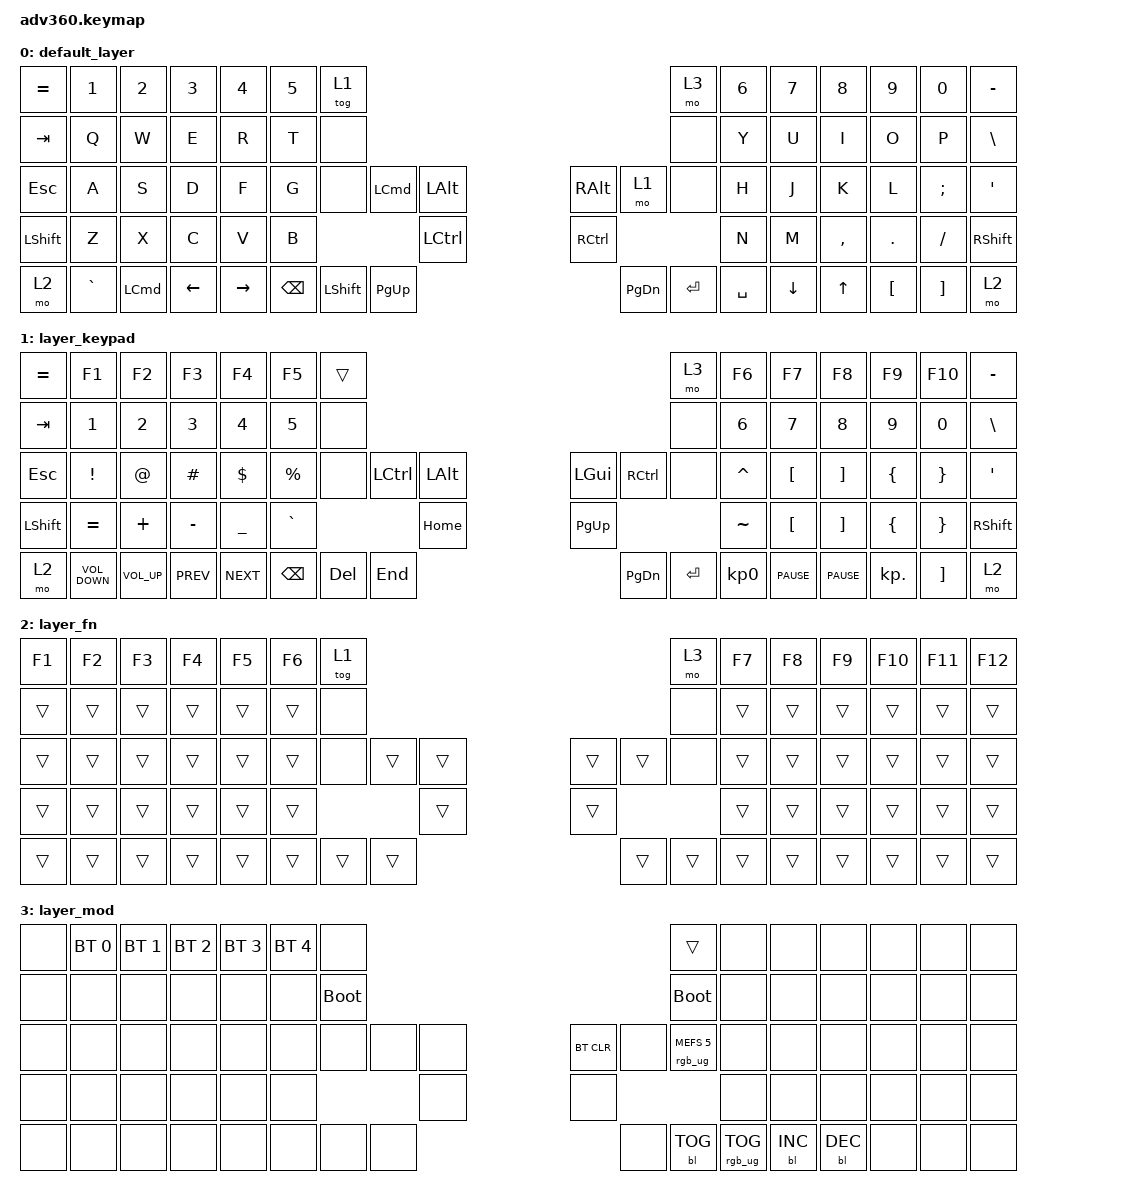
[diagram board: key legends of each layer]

/*
 * Copyright (c) 2020 The ZMK Contributors
 *
 * SPDX-License-Identifier: MIT
 */


/* THIS FILE WAS GENERATED!
 *
 * This file was generated automatically. You may or may not want to
 * edit it directly.
 */

#include <behaviors.dtsi>
#include <dt-bindings/zmk/keys.h>
#include <dt-bindings/zmk/bt.h>
#include <dt-bindings/zmk/rgb.h>
#include <dt-bindings/zmk/backlight.h>

/ {
  behaviors {
    #include "macros.dtsi"
    #include "version.dtsi"

    hm: homerow_mods {
        compatible = "zmk,behavior-hold-tap";
        label = "HOMEROW_MODS";
        #binding-cells = <2>;
        tapping-term-ms = <200>;
        quick_tap_ms = <175>;
        flavor = "tap-preferred";
        bindings = <&kp>, <&kp>;
    };
  };

    keymap {
        compatible = "zmk,keymap";


        default_layer {
            bindings = <
 &kp EQUAL     &kp N1            &kp N2    &kp N3     &kp N4  &kp N5              &tog 1                                                                                &mo 3  &kp N6          &kp N7        &kp N8    &kp N9    &kp N0  &kp MINUS
   &kp TAB      &kp Q             &kp W     &kp E      &kp R   &kp T               &none                                                                                &none   &kp Y           &kp U         &kp I     &kp O     &kp P   &kp BSLH
   &kp ESC      &kp A             &kp S     &kp D      &kp F   &kp G               &none  &kp LEFT_COMMAND  &kp LEFT_ALT                  &kp RIGHT_ALT      &mo 1      &none   &kp H           &kp J         &kp K     &kp L  &kp SEMI    &kp SQT
 &kp LSHFT      &kp Z             &kp X     &kp C      &kp V   &kp B                                           &kp LCTRL                      &kp RCTRL                         &kp N           &kp M     &kp COMMA   &kp DOT  &kp FSLH  &kp RSHFT
     &mo 2  &kp GRAVE  &kp LEFT_COMMAND  &kp LEFT  &kp RIGHT                    &kp BSPC    &kp LEFT_SHIFT   &kp PAGE_UP                      &kp PG_DN  &kp ENTER  &kp SPACE          &kp DOWN_ARROW  &kp UP_ARROW  &kp LBKT  &kp RBKT      &mo 2
            >;
        };

        layer_keypad {
            bindings = <
      &kp EQUAL             &kp F1           &kp F2        &kp F3          &kp F4        &kp F5              &trans                                                                 &mo 3        &kp F6            &kp F7             &kp F8          &kp F9          &kp F10  &kp MINUS
        &kp TAB       &kp NUMBER_1     &kp NUMBER_2  &kp NUMBER_3    &kp NUMBER_4  &kp NUMBER_5               &none                                                                 &none  &kp NUMBER_6      &kp NUMBER_7       &kp NUMBER_8    &kp NUMBER_9     &kp NUMBER_0   &kp BSLH
        &kp ESC    &kp EXCLAMATION           &kp AT      &kp HASH        &kp DLLR     &kp PRCNT               &none  &kp LCTRL  &kp LALT                   &kp LGUI  &kp RCTRL      &none     &kp CARET  &kp LEFT_BRACKET  &kp RIGHT_BRACKET  &kp LEFT_BRACE  &kp RIGHT_BRACE    &kp SQT
 &kp LEFT_SHIFT          &kp EQUAL         &kp PLUS     &kp MINUS  &kp UNDERSCORE     &kp GRAVE                                 &kp HOME                  &kp PG_UP                           &kp TILDE  &kp LEFT_BRACKET  &kp RIGHT_BRACKET  &kp LEFT_BRACE  &kp RIGHT_BRACE  &kp RSHFT
          &mo 2  &kp C_VOLUME_DOWN  &kp C_VOLUME_UP    &kp C_PREV      &kp C_NEXT                          &kp BSPC    &kp DEL   &kp END                  &kp PG_DN  &kp ENTER  &kp KP_N0                     &kp C_PAUSE        &kp C_PAUSE      &kp KP_DOT         &kp RBKT      &mo 2
            >;
        };

        layer_fn {
            bindings = <
 &kp F1  &kp F2  &kp F3  &kp F4  &kp F5  &kp F6            &tog 1                                                   &mo 3  &kp F7  &kp F8  &kp F9  &kp F10  &kp F11  &kp F12
 &trans  &trans  &trans  &trans  &trans  &trans             &none                                                   &none  &trans  &trans  &trans   &trans   &trans   &trans
 &trans  &trans  &trans  &trans  &trans  &trans             &none  &trans  &trans                  &trans  &trans   &none  &trans  &trans  &trans   &trans   &trans   &trans
 &trans  &trans  &trans  &trans  &trans  &trans                            &trans                  &trans                  &trans  &trans  &trans   &trans   &trans   &trans
 &trans  &trans  &trans  &trans  &trans                    &trans  &trans  &trans                  &trans  &trans  &trans          &trans  &trans   &trans   &trans   &trans
            >;
        };

        layer_mod {
            bindings = <
  &none  &bt BT_SEL 0  &bt BT_SEL 1  &bt BT_SEL 2  &bt BT_SEL 3  &bt BT_SEL 4                  &none                                                                          &trans   &none       &none       &none   &none   &none   &none
  &none         &none         &none         &none         &none         &none            &bootloader                                                                     &bootloader   &none       &none       &none   &none   &none   &none
  &none         &none         &none         &none         &none         &none                  &none   &none   &none                  &bt BT_CLR       &none  &rgb_ug RGB_MEFS_CMD 5   &none       &none       &none   &none   &none   &none
  &none         &none         &none         &none         &none         &none                                  &none                       &none                                       &none       &none       &none   &none   &none   &none
  &none         &none         &none         &none         &none                                &none   &none   &none                       &none  &bl BL_TOG         &rgb_ug RGB_TOG          &bl BL_INC  &bl BL_DEC   &none   &none   &none
            >;
        };

    };
};
